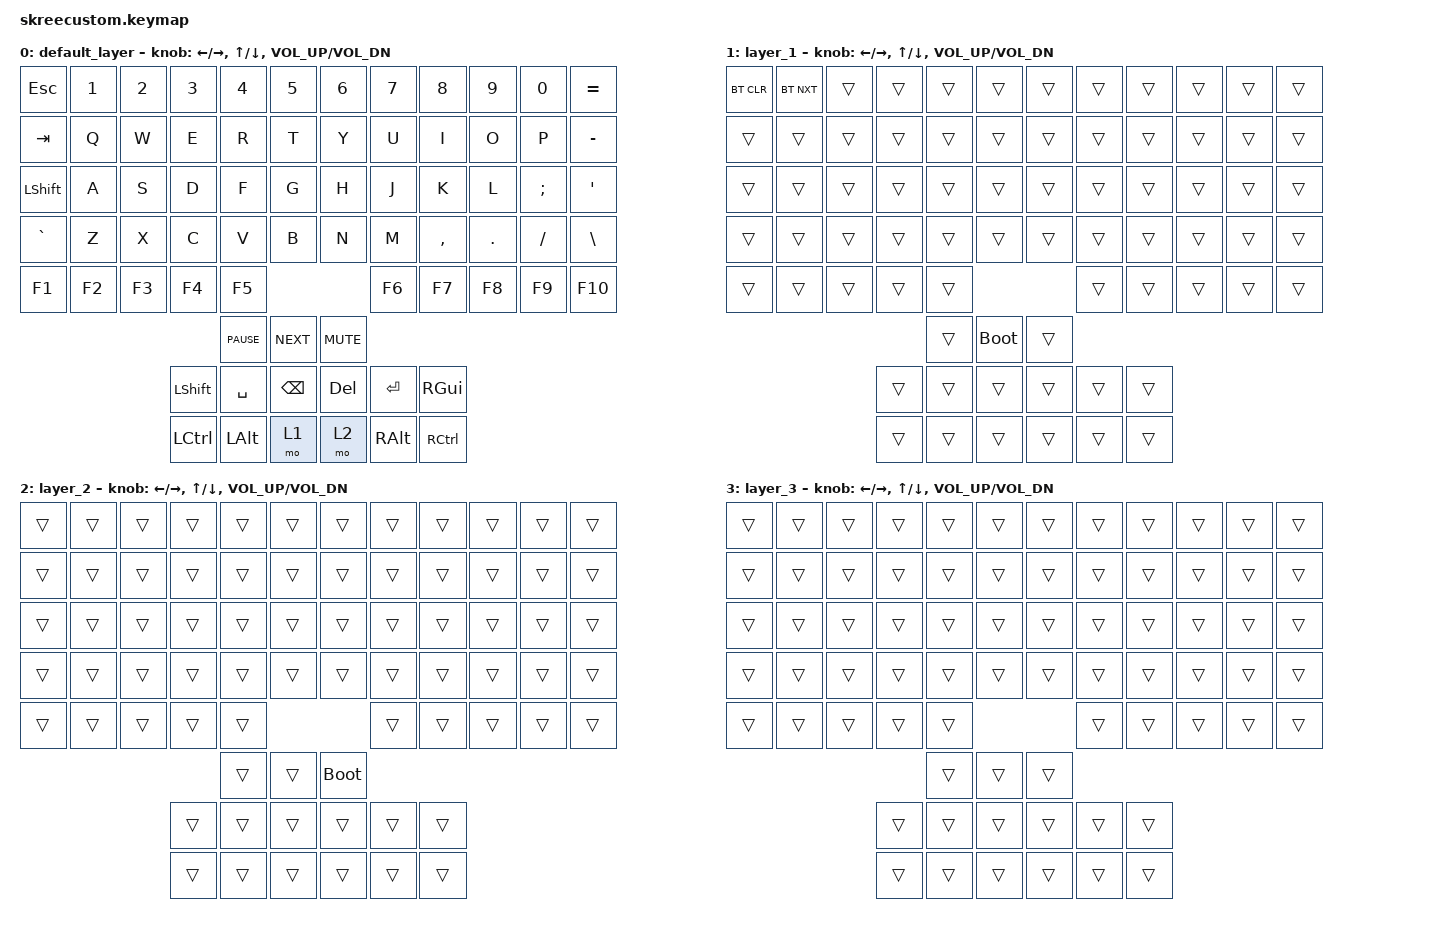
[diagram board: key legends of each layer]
/*
 * Copyright (c) 2020 The ZMK Contributors
 *
 * SPDX-License-Identifier: MIT
 */
//#include <behaviors/mouse_keys.dtsi>

#define ZMK_POINTING_DEFAULT_SCRL_VAL 140

#include <input/processors.dtsi>
#include <dt-bindings/zmk/input_transform.h>
#include <dt-bindings/zmk/mouse.h>
#include <behaviors.dtsi>
#include <dt-bindings/zmk/bt.h>
#include <dt-bindings/zmk/keys.h>
#include <dt-bindings/zmk/pointing.h>

/ {
    behaviors {
        mouse_scroll: sensor_scroll {
            compatible = "zmk,behavior-sensor-rotate-var";
            #sensor-binding-cells = <2>;
            bindings = <&msc>, <&msc>;

            tap-ms = <5>;
        };
    };

    keymap {
        compatible = "zmk,keymap";

        default_layer {
            bindings = <
&kp ESC    &kp N1  &kp N2  &kp N3     &kp N4       &kp N5        &kp N6      &kp N7    &kp N8     &kp N9   &kp N0    &kp EQUAL
&kp TAB    &kp Q   &kp W   &kp E      &kp R        &kp T         &kp Y       &kp U     &kp I      &kp O    &kp P     &kp MINUS
&kp LSHFT  &kp A   &kp S   &kp D      &kp F        &kp G         &kp H       &kp J     &kp K      &kp L    &kp SEMI  &kp SQT
&kp GRAVE  &kp Z   &kp X   &kp C      &kp V        &kp B         &kp N       &kp M     &kp COMMA  &kp DOT  &kp FSLH  &kp BSLH
&kp F1     &kp F2  &kp F3  &kp F4     &kp F5                                 &kp F6    &kp F7     &kp F8   &kp F9    &kp F10
                                      &kp C_PAUSE  &kp C_NEXT    &kp C_MUTE
                           &kp LSHFT  &kp SPACE    &kp BSPC      &kp DEL     &kp RET   &kp RGUI
                           &kp LCTRL  &kp LALT     &mo 1         &mo 2       &kp RALT  &kp RCTRL
            >;

            sensor-bindings =
                <&inc_dec_kp LEFT_ARROW RIGHT_ARROW>,
                <&inc_dec_kp UP_ARROW DOWN_ARROW>,
                <&inc_dec_kp C_VOL_UP C_VOL_DN>;
        };

        layer_1 {
            bindings = <
&bt BT_CLR  &bt BT_NXT  &trans  &trans  &trans  &trans         &trans  &trans  &trans  &trans  &trans  &trans
&trans      &trans      &trans  &trans  &trans  &trans         &trans  &trans  &trans  &trans  &trans  &trans
&trans      &trans      &trans  &trans  &trans  &trans         &trans  &trans  &trans  &trans  &trans  &trans
&trans      &trans      &trans  &trans  &trans  &trans         &trans  &trans  &trans  &trans  &trans  &trans
&trans      &trans      &trans  &trans  &trans                         &trans  &trans  &trans  &trans  &trans
                                        &trans  &bootloader    &trans
                                &trans  &trans  &trans         &trans  &trans  &trans
                                &trans  &trans  &trans         &trans  &trans  &trans
            >;

            sensor-bindings =
                <&inc_dec_kp LEFT_ARROW RIGHT_ARROW>,
                <&inc_dec_kp UP_ARROW DOWN_ARROW>,
                <&inc_dec_kp C_VOL_UP C_VOL_DN>;
        };

        layer_2 {
            bindings = <
&trans  &trans  &trans  &trans  &trans  &trans    &trans       &trans  &trans  &trans  &trans  &trans
&trans  &trans  &trans  &trans  &trans  &trans    &trans       &trans  &trans  &trans  &trans  &trans
&trans  &trans  &trans  &trans  &trans  &trans    &trans       &trans  &trans  &trans  &trans  &trans
&trans  &trans  &trans  &trans  &trans  &trans    &trans       &trans  &trans  &trans  &trans  &trans
&trans  &trans  &trans  &trans  &trans                         &trans  &trans  &trans  &trans  &trans
                                &trans  &trans    &bootloader
                        &trans  &trans  &trans    &trans       &trans  &trans
                        &trans  &trans  &trans    &trans       &trans  &trans
            >;

            sensor-bindings =
                <&inc_dec_kp LEFT_ARROW RIGHT_ARROW>,
                <&inc_dec_kp UP_ARROW DOWN_ARROW>,
                <&inc_dec_kp C_VOL_UP C_VOL_DN>;
        };

        layer_3 {
            bindings = <
&trans  &trans  &trans  &trans  &trans  &trans    &trans  &trans  &trans  &trans  &trans  &trans
&trans  &trans  &trans  &trans  &trans  &trans    &trans  &trans  &trans  &trans  &trans  &trans
&trans  &trans  &trans  &trans  &trans  &trans    &trans  &trans  &trans  &trans  &trans  &trans
&trans  &trans  &trans  &trans  &trans  &trans    &trans  &trans  &trans  &trans  &trans  &trans
&trans  &trans  &trans  &trans  &trans                    &trans  &trans  &trans  &trans  &trans
                                &trans  &trans    &trans
                        &trans  &trans  &trans    &trans  &trans  &trans
                        &trans  &trans  &trans    &trans  &trans  &trans
            >;

            sensor-bindings =
                <&inc_dec_kp LEFT_ARROW RIGHT_ARROW>,
                <&inc_dec_kp UP_ARROW DOWN_ARROW>,
                <&inc_dec_kp C_VOL_UP C_VOL_DN>;
        };
    };
};
